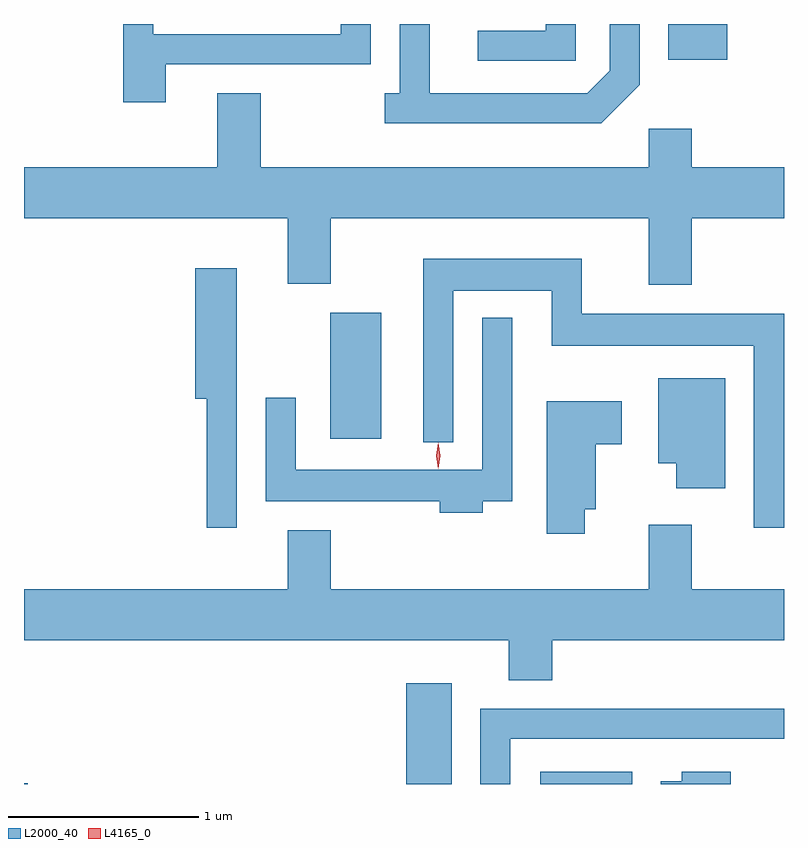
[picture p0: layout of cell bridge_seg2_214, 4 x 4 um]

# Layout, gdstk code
import gdstk
lib = gdstk.Library(unit=1e-6, precision=1e-09)
def R(c, l, rs):  # rectangles x0, y0, x1, y1
    for r in rs: c.add(gdstk.rectangle(r[:2], r[2:], *l))
def P(c, l, *ps):  # polygons
    for p in ps: c.add(gdstk.Polygon(p, *l))
L2000_40 = (2000, 40)
L4165_0 = (4165, 0)

bridge_seg2_214 = lib.new_cell('bridge_seg2_214')
R(bridge_seg2_214, L2000_40, [(541.844,1103.059,541.864,1103.064), (543.856,1103.059,544.094,1103.589), (544.561,1103.059,545.044,1103.124), (543.456,1104.876,543.724,1105.539), (545.236,1106.871,545.544,1107.059)])
P(bridge_seg2_214, L2000_40, [(545.084,1106.739),(545.084,1107.059),(544.926,1107.059),(544.926,1106.812),(544.809,1106.694),(543.979,1106.694),(543.979,1107.059),(543.821,1107.059),(543.821,1106.694),(543.743,1106.694),(543.743,1106.536),(544.882,1106.536)],
  [(544.749,1107.059),(544.591,1107.059),(544.591,1107.024),(544.233,1107.024),(544.233,1106.866),(544.749,1106.866)],
  [(542.589,1106.846),(543.669,1106.846),(543.669,1107.059),(543.511,1107.059),(543.511,1107.004),(542.524,1107.004),(542.524,1107.059),(542.366,1107.059),(542.366,1106.646),(542.589,1106.646)],
  [(545.359,1106.036),(545.844,1106.036),(545.844,1106.304),(545.359,1106.304),(545.359,1106.509),(545.131,1106.509),(545.131,1106.304),(543.089,1106.304),(543.089,1106.694),(542.861,1106.694),(542.861,1106.304),(541.844,1106.304),(541.844,1106.036),(543.231,1106.036),(543.231,1105.691),(543.459,1105.691),(543.459,1106.036),(545.131,1106.036),(545.131,1105.686),(545.359,1105.686)],
  [(545.844,1105.534),(544.779,1105.534),(544.779,1105.824),(543.946,1105.824),(543.946,1104.858),(544.104,1104.858),(544.104,1105.656),(544.621,1105.656),(544.621,1105.366),(545.686,1105.366),(545.686,1104.408),(545.844,1104.408)],
  [(542.964,1105.774),(542.746,1105.774),(542.746,1105.086),(542.806,1105.086),(542.806,1104.408),(542.964,1104.408)],
  [(544.259,1104.546),(544.414,1104.546),(544.414,1105.513),(544.256,1105.513),(544.256,1104.714),(543.274,1104.714),(543.274,1105.093),(543.116,1105.093),(543.116,1104.546),(544.031,1104.546),(544.031,1104.486),(544.259,1104.486)],
  [(545.534,1105.194),(545.181,1105.194),(545.181,1104.746),(545.276,1104.746),(545.276,1104.616),(545.534,1104.616)],
  [(544.794,1104.506),(544.854,1104.506),(544.854,1104.846),(544.989,1104.846),(544.989,1105.074),(544.596,1105.074),(544.596,1104.376),(544.794,1104.376)],
  [(544.624,1103.816),(545.844,1103.816),(545.844,1104.084),(545.359,1104.084),(545.359,1104.424),(545.131,1104.424),(545.131,1104.084),(543.459,1104.084),(543.459,1104.394),(543.231,1104.394),(543.231,1104.084),(541.844,1104.084),(541.844,1103.816),(544.396,1103.816),(544.396,1103.606),(544.624,1103.606)],
  [(544.404,1103.296),(545.844,1103.296),(545.844,1103.454),(544.246,1103.454),(544.246,1103.059),(544.404,1103.059)],
  [(545.564,1103.124),(545.306,1103.124),(545.306,1103.074),(545.196,1103.074),(545.196,1103.059),(545.564,1103.059)])
P(bridge_seg2_214, L4165_0, [(544.024,1104.717),(544.024,1104.717),(544.015,1104.787),(544.024,1104.856),(544.025,1104.856),(544.025,1104.856),(544.034,1104.786),(544.025,1104.717)],
  [(544.024,1104.719),(544.024,1104.72),(544.014,1104.786),(544.024,1104.852),(544.024,1104.853),(544.025,1104.852),(544.034,1104.786),(544.025,1104.72)])

lib.write_gds('bridge_seg2_214.gds')
